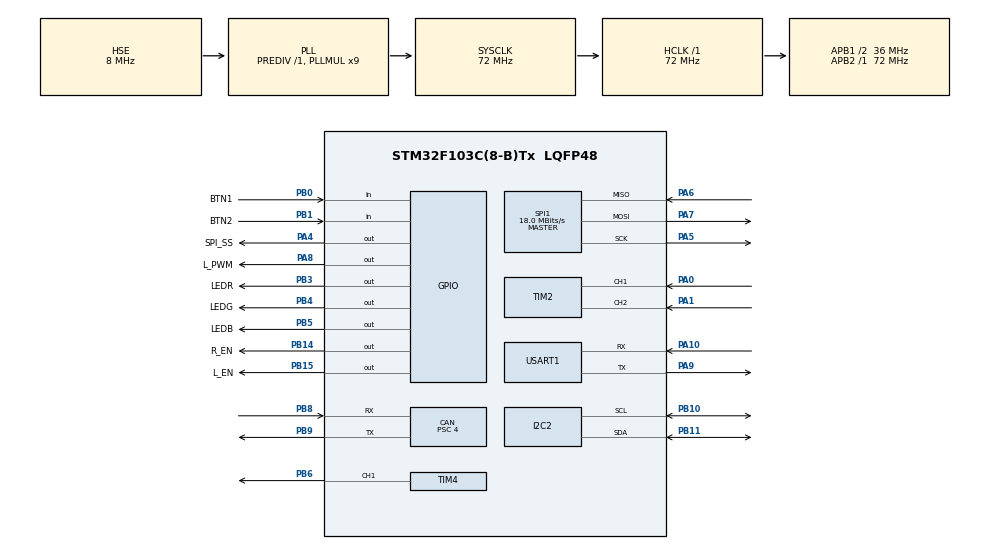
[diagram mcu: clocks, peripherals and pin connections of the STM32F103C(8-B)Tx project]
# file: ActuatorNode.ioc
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CAN.BS1=CAN_BS1_13TQ
CAN.BS2=CAN_BS2_4TQ
CAN.CalculateBaudRate=500000
CAN.CalculateTimeBit=2000
CAN.CalculateTimeQuantum=111.11111111111111
CAN.Prescaler=4
CAN.SJW=CAN_SJW_2TQ
Mcu.Family=STM32F1
Mcu.Name=STM32F103C(8-B)Tx
Mcu.Package=LQFP48
NVIC.CAN1_RX1_IRQn=true\:0\:0\:false\:false\:true\:true\:true\:true
NVIC.PriorityGroup=NVIC_PRIORITYGROUP_4
NVIC.TIM3_IRQn=true\:0\:0\:false\:false\:true\:true\:true\:true
PA0-WKUP.Signal=S_TIM2_CH1_ETR
PA1.Signal=S_TIM2_CH2
PA10.Mode=Asynchronous
PA10.Signal=USART1_RX
PA4.GPIO_Label=SPI_SS
PA4.Signal=GPIO_Output
PA5.Mode=Full_Duplex_Master
PA5.Signal=SPI1_SCK
PA6.Mode=Full_Duplex_Master
PA6.Signal=SPI1_MISO
PA7.Mode=Full_Duplex_Master
PA7.Signal=SPI1_MOSI
PA8.GPIO_Label=L_PWM
PA8.Signal=GPIO_Output
PA9.Mode=Asynchronous
PA9.Signal=USART1_TX
PB0.GPIO_Label=BTN1
PB0.Signal=GPIO_Input
PB1.GPIO_Label=BTN2
PB1.Signal=GPIO_Input
PB10.Mode=I2C
PB10.Signal=I2C2_SCL
PB11.Mode=I2C
PB11.Signal=I2C2_SDA
PB14.GPIO_Label=R_EN
PB14.Signal=GPIO_Output
PB15.GPIO_Label=L_EN
PB15.Signal=GPIO_Output
PB3.GPIO_Label=LEDR
PB3.PinState=GPIO_PIN_SET
PB3.Signal=GPIO_Output
PB4.GPIO_Label=LEDG
PB4.PinState=GPIO_PIN_SET
PB4.Signal=GPIO_Output
PB5.GPIO_Label=LEDB
PB5.PinState=GPIO_PIN_SET
PB5.Signal=GPIO_Output
PB6.Signal=S_TIM4_CH1
PB8.Mode=CAN_Activate
PB8.Signal=CAN_RX
PB9.Mode=CAN_Activate
PB9.Signal=CAN_TX
PD0-OSC_IN.Mode=HSE-External-Oscillator
PD0-OSC_IN.Signal=RCC_OSC_IN
PD1-OSC_OUT.Mode=HSE-External-Oscillator
PD1-OSC_OUT.Signal=RCC_OSC_OUT
ProjectManager.HeapSize=0x200
ProjectManager.StackSize=0x400
ProjectManager.TargetToolchain=STM32CubeIDE
RCC.AHBFreq_Value=72000000
RCC.APB1CLKDivider=RCC_HCLK_DIV2
RCC.APB1Freq_Value=36000000
RCC.APB1TimFreq_Value=72000000
RCC.APB2Freq_Value=72000000
RCC.APB2TimFreq_Value=72000000
RCC.HCLKFreq_Value=72000000
RCC.PLLMUL=RCC_PLL_MUL9
RCC.PLLSourceVirtual=RCC_PLLSOURCE_HSE
RCC.SYSCLKFreq_VALUE=72000000
RCC.SYSCLKSource=RCC_SYSCLKSOURCE_PLLCLK
RCC.USBFreq_Value=72000000
SH.S_TIM2_CH1_ETR.0=TIM2_CH1,Encoder_Interface
SH.S_TIM2_CH2.0=TIM2_CH2,Encoder_Interface
SH.S_TIM4_CH1.0=TIM4_CH1,PWM Generation1 CH1
SPI1.BaudRatePrescaler=SPI_BAUDRATEPRESCALER_4
SPI1.CalculateBaudRate=18.0 MBits/s
SPI1.Direction=SPI_DIRECTION_2LINES
SPI1.Mode=SPI_MODE_MASTER
SPI1.VirtualType=VM_MASTER
TIM3.Period=199
TIM3.Prescaler=35999
TIM4.Channel-PWM\ Generation1\ CH1=TIM_CHANNEL_1
USART1.VirtualMode=VM_ASYNC
VP_TIM3_VS_ClockSourceINT.Mode=Internal
board=custom

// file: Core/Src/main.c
/* USER CODE BEGIN Header */
/**
  ******************************************************************************
  * @file           : main.c
  * @brief          : Main program body
  ******************************************************************************
  * @attention
  *
  * Copyright (c) 2023 STMicroelectronics.
  * All rights reserved.
  *
  * This software is licensed under terms that can be found in the LICENSE file
  * in the root directory of this software component.
  * If no LICENSE file comes with this software, it is provided AS-IS.
  *
  ******************************************************************************
  */
/* USER CODE END Header */

#include "main.h"

/* USER CODE BEGIN Includes */
#include "gpio.h"
#include "timer.h"
#include "uart.h"
#include "can_diagnostic_ecu.h"
/* USER CODE END Includes */

CAN_HandleTypeDef hcan;

I2C_HandleTypeDef hi2c2;

SPI_HandleTypeDef hspi1;

TIM_HandleTypeDef htim2;
TIM_HandleTypeDef htim3;
TIM_HandleTypeDef htim4;

UART_HandleTypeDef huart1;

/* USER CODE BEGIN PV */
/* CAN Tx variables */
CAN_TxHeaderTypeDef CANTxHeader;
uint8_t CANTxBuffer[] = {0x01, 0x02, 0x00, 0x00, 0x00, 0x00, 0x00, 0x00};
uint32_t CANTxMailboxes = CAN_TX_MAILBOX1;
/* CAN Rx variables */
extern uint8_t CANRxBuffer[];
extern uint8_t CANDiagnosticRequestRcvFlag;
extern CAN_RxHeaderTypeDef CANRxHeader;
/* USER CODE END PV */

void SystemClock_Config(void);
static void MX_GPIO_Init(void);
static void MX_I2C2_Init(void);
static void MX_SPI1_Init(void);
static void MX_TIM2_Init(void);
static void MX_TIM3_Init(void);
static void MX_TIM4_Init(void);
static void MX_USART1_UART_Init(void);
static void MX_CAN_Init(void);

/* USER CODE BEGIN 0 */
//void CANResponse()
//{
//	for (int _byte = 0; _byte < 8; ++ _byte)
//	{
//		CANTxBuffer[_byte] = CANRxBuffer[_byte];
//	}
//
//	CANTxBuffer[2] = CANTxBuffer[0] + CANTxBuffer[1];
//
////	CANTxBuffer[7] = SAE_J1850_Calc(CANTxBuffer, 7);
//
//	CANTxHeader.StdId 	= CAN_TX_STD_ID;
//	CANTxHeader.IDE 	= CAN_ID_STD;
//	CANTxHeader.RTR 	= CAN_RTR_DATA;
//	CANTxHeader.DLC 	= CAN_DATA_LENGTH;
//
//	if (HAL_CAN_AddTxMessage(&hcan, &CANTxHeader, CANTxBuffer, &CANTxMailboxes) == HAL_OK)
//	{
//
//	}
//}
/* USER CODE END 0 */

int main(void)
{

  /* MCU Configuration--------------------------------------------------------*/

  /* Reset of all peripherals, Initializes the Flash interface and the Systick. */
  HAL_Init();

  /* Configure the system clock */
  SystemClock_Config();

  /* Initialize all configured peripherals */
  MX_GPIO_Init();
  MX_I2C2_Init();
  MX_SPI1_Init();
  MX_TIM2_Init();
  MX_TIM3_Init();
  MX_TIM4_Init();
  MX_USART1_UART_Init();
  MX_CAN_Init();
  /* USER CODE BEGIN 2 */
  HAL_TIM_Base_Start_IT(&htim3);
  if (HAL_CAN_Start(&hcan) != HAL_OK)
  {
	  Error_Handler();
  }
  HAL_CAN_ActivateNotification(&hcan, CAN_IT_RX_FIFO1_MSG_PENDING);
  printf("Actuator\n");
  //  Monitor_Show();
  /* USER CODE END 2 */

  /* Infinite loop */
  /* USER CODE BEGIN WHILE */
    while (1)
    {
    	while (CANDiagnosticRequestRcvFlag != 1);
    	{
    		CANDiagnosticRequestRcvFlag = 0;
//    		readDataByIdentifierResponse(&hcan, &CANRxHeader, CANRxBuffer);
//    		writeDataByIdentifierResponse(&hcan, &CANRxHeader, CANRxBuffer);
    		if (securityAccessSeedGenerate(&hcan, &CANRxHeader, CANRxBuffer))
    		{
    			while (CANDiagnosticRequestRcvFlag != 1);
    			{
    	    		CANDiagnosticRequestRcvFlag = 0;
    				flowControlResponse(&hcan, &CANRxHeader, CANRxBuffer);
        			while (CANDiagnosticRequestRcvFlag != 1);
					{
        				CANDiagnosticRequestRcvFlag = 0;
    					securityAccessKeyResponse(&hcan);
					}
    			}
    		}
    	}
//    	CANTransmit();
//    	HAL_Delay(50);
    /* USER CODE END WHILE */

    }
}

void SystemClock_Config(void)
{
  RCC_OscInitTypeDef RCC_OscInitStruct = {0};
  RCC_ClkInitTypeDef RCC_ClkInitStruct = {0};

  /** Initializes the RCC Oscillators according to the specified parameters
  * in the RCC_OscInitTypeDef structure.
  */
  RCC_OscInitStruct.OscillatorType = RCC_OSCILLATORTYPE_HSE;
  RCC_OscInitStruct.HSEState = RCC_HSE_ON;
  RCC_OscInitStruct.HSEPredivValue = RCC_HSE_PREDIV_DIV1;
  RCC_OscInitStruct.HSIState = RCC_HSI_ON;
  RCC_OscInitStruct.PLL.PLLState = RCC_PLL_ON;
  RCC_OscInitStruct.PLL.PLLSource = RCC_PLLSOURCE_HSE;
  RCC_OscInitStruct.PLL.PLLMUL = RCC_PLL_MUL9;
  if (HAL_RCC_OscConfig(&RCC_OscInitStruct) != HAL_OK)
  {
    Error_Handler();
  }

  /** Initializes the CPU, AHB and APB buses clocks
  */
  RCC_ClkInitStruct.ClockType = RCC_CLOCKTYPE_HCLK|RCC_CLOCKTYPE_SYSCLK
                              |RCC_CLOCKTYPE_PCLK1|RCC_CLOCKTYPE_PCLK2;
  RCC_ClkInitStruct.SYSCLKSource = RCC_SYSCLKSOURCE_PLLCLK;
  RCC_ClkInitStruct.AHBCLKDivider = RCC_SYSCLK_DIV1;
  RCC_ClkInitStruct.APB1CLKDivider = RCC_HCLK_DIV2;
  RCC_ClkInitStruct.APB2CLKDivider = RCC_HCLK_DIV1;

  if (HAL_RCC_ClockConfig(&RCC_ClkInitStruct, FLASH_LATENCY_2) != HAL_OK)
  {
    Error_Handler();
  }
}

static void MX_CAN_Init(void)
{

  hcan.Instance = CAN1;
  hcan.Init.Prescaler = 4;
  hcan.Init.Mode = CAN_MODE_NORMAL;
  hcan.Init.SyncJumpWidth = CAN_SJW_2TQ;
  hcan.Init.TimeSeg1 = CAN_BS1_13TQ;
  hcan.Init.TimeSeg2 = CAN_BS2_4TQ;
  hcan.Init.TimeTriggeredMode = DISABLE;
  hcan.Init.AutoBusOff = DISABLE;
  hcan.Init.AutoWakeUp = DISABLE;
  hcan.Init.AutoRetransmission = DISABLE;
  hcan.Init.ReceiveFifoLocked = DISABLE;
  hcan.Init.TransmitFifoPriority = DISABLE;
  if (HAL_CAN_Init(&hcan) != HAL_OK)
  {
    Error_Handler();
  }
  /* USER CODE BEGIN CAN_Init 2 */
  CAN_FilterTypeDef canfilterconfig;

  canfilterconfig.FilterActivation = CAN_FILTER_ENABLE;
  canfilterconfig.FilterBank = 12;  // which filter bank to use from the assigned ones
  canfilterconfig.FilterFIFOAssignment = CAN_FILTER_FIFO1;
  canfilterconfig.FilterIdHigh = CAN_DIAGNOSTIC_REQUEST_ID<<5;
  canfilterconfig.FilterIdLow = 0;
  canfilterconfig.FilterMaskIdHigh = CAN_DIAGNOSTIC_REQUEST_ID<<5;
  canfilterconfig.FilterMaskIdLow = 0x0000;
  canfilterconfig.FilterMode = CAN_FILTERMODE_IDMASK;
  canfilterconfig.FilterScale = CAN_FILTERSCALE_32BIT;
  canfilterconfig.SlaveStartFilterBank = 13;  // how many filters to assign to the CAN1 (master can)

  HAL_CAN_ConfigFilter(&hcan, &canfilterconfig);
  /* USER CODE END CAN_Init 2 */

}

static void MX_I2C2_Init(void)
{

  hi2c2.Instance = I2C2;
  hi2c2.Init.ClockSpeed = 100000;
  hi2c2.Init.DutyCycle = I2C_DUTYCYCLE_2;
  hi2c2.Init.OwnAddress1 = 0;
  hi2c2.Init.AddressingMode = I2C_ADDRESSINGMODE_7BIT;
  hi2c2.Init.DualAddressMode = I2C_DUALADDRESS_DISABLE;
  hi2c2.Init.OwnAddress2 = 0;
  hi2c2.Init.GeneralCallMode = I2C_GENERALCALL_DISABLE;
  hi2c2.Init.NoStretchMode = I2C_NOSTRETCH_DISABLE;
  if (HAL_I2C_Init(&hi2c2) != HAL_OK)
  {
    Error_Handler();
  }

}

static void MX_SPI1_Init(void)
{

  /* SPI1 parameter configuration*/
  hspi1.Instance = SPI1;
  hspi1.Init.Mode = SPI_MODE_MASTER;
  hspi1.Init.Direction = SPI_DIRECTION_2LINES;
  hspi1.Init.DataSize = SPI_DATASIZE_8BIT;
  hspi1.Init.CLKPolarity = SPI_POLARITY_LOW;
  hspi1.Init.CLKPhase = SPI_PHASE_1EDGE;
  hspi1.Init.NSS = SPI_NSS_SOFT;
  hspi1.Init.BaudRatePrescaler = SPI_BAUDRATEPRESCALER_4;
  hspi1.Init.FirstBit = SPI_FIRSTBIT_MSB;
  hspi1.Init.TIMode = SPI_TIMODE_DISABLE;
  hspi1.Init.CRCCalculation = SPI_CRCCALCULATION_DISABLE;
  hspi1.Init.CRCPolynomial = 10;
  if (HAL_SPI_Init(&hspi1) != HAL_OK)
  {
    Error_Handler();
  }

}

static void MX_TIM2_Init(void)
{

  TIM_Encoder_InitTypeDef sConfig = {0};
  TIM_MasterConfigTypeDef sMasterConfig = {0};

  htim2.Instance = TIM2;
  htim2.Init.Prescaler = 0;
  htim2.Init.CounterMode = TIM_COUNTERMODE_UP;
  htim2.Init.Period = 65535;
  htim2.Init.ClockDivision = TIM_CLOCKDIVISION_DIV1;
  htim2.Init.AutoReloadPreload = TIM_AUTORELOAD_PRELOAD_DISABLE;
  sConfig.EncoderMode = TIM_ENCODERMODE_TI1;
  sConfig.IC1Polarity = TIM_ICPOLARITY_RISING;
  sConfig.IC1Selection = TIM_ICSELECTION_DIRECTTI;
  sConfig.IC1Prescaler = TIM_ICPSC_DIV1;
  sConfig.IC1Filter = 0;
  sConfig.IC2Polarity = TIM_ICPOLARITY_RISING;
  sConfig.IC2Selection = TIM_ICSELECTION_DIRECTTI;
  sConfig.IC2Prescaler = TIM_ICPSC_DIV1;
  sConfig.IC2Filter = 0;
  if (HAL_TIM_Encoder_Init(&htim2, &sConfig) != HAL_OK)
  {
    Error_Handler();
  }
  sMasterConfig.MasterOutputTrigger = TIM_TRGO_RESET;
  sMasterConfig.MasterSlaveMode = TIM_MASTERSLAVEMODE_DISABLE;
  if (HAL_TIMEx_MasterConfigSynchronization(&htim2, &sMasterConfig) != HAL_OK)
  {
    Error_Handler();
  }

}

static void MX_TIM3_Init(void)
{

  TIM_ClockConfigTypeDef sClockSourceConfig = {0};
  TIM_MasterConfigTypeDef sMasterConfig = {0};

  htim3.Instance = TIM3;
  htim3.Init.Prescaler = 35999;
  htim3.Init.CounterMode = TIM_COUNTERMODE_UP;
  htim3.Init.Period = 199;
  htim3.Init.ClockDivision = TIM_CLOCKDIVISION_DIV1;
  htim3.Init.AutoReloadPreload = TIM_AUTORELOAD_PRELOAD_DISABLE;
  if (HAL_TIM_Base_Init(&htim3) != HAL_OK)
  {
    Error_Handler();
  }
  sClockSourceConfig.ClockSource = TIM_CLOCKSOURCE_INTERNAL;
  if (HAL_TIM_ConfigClockSource(&htim3, &sClockSourceConfig) != HAL_OK)
  {
    Error_Handler();
  }
  sMasterConfig.MasterOutputTrigger = TIM_TRGO_RESET;
  sMasterConfig.MasterSlaveMode = TIM_MASTERSLAVEMODE_DISABLE;
  if (HAL_TIMEx_MasterConfigSynchronization(&htim3, &sMasterConfig) != HAL_OK)
  {
    Error_Handler();
  }

}

static void MX_TIM4_Init(void)
{

  TIM_MasterConfigTypeDef sMasterConfig = {0};
  TIM_OC_InitTypeDef sConfigOC = {0};

  htim4.Instance = TIM4;
  htim4.Init.Prescaler = 0;
  htim4.Init.CounterMode = TIM_COUNTERMODE_UP;
  htim4.Init.Period = 65535;
  htim4.Init.ClockDivision = TIM_CLOCKDIVISION_DIV1;
  htim4.Init.AutoReloadPreload = TIM_AUTORELOAD_PRELOAD_DISABLE;
  if (HAL_TIM_PWM_Init(&htim4) != HAL_OK)
  {
    Error_Handler();
  }
  sMasterConfig.MasterOutputTrigger = TIM_TRGO_RESET;
  sMasterConfig.MasterSlaveMode = TIM_MASTERSLAVEMODE_DISABLE;
  if (HAL_TIMEx_MasterConfigSynchronization(&htim4, &sMasterConfig) != HAL_OK)
  {
    Error_Handler();
  }
  sConfigOC.OCMode = TIM_OCMODE_PWM1;
  sConfigOC.Pulse = 0;
  sConfigOC.OCPolarity = TIM_OCPOLARITY_HIGH;
  sConfigOC.OCFastMode = TIM_OCFAST_DISABLE;
  if (HAL_TIM_PWM_ConfigChannel(&htim4, &sConfigOC, TIM_CHANNEL_1) != HAL_OK)
  {
    Error_Handler();
  }
  HAL_TIM_MspPostInit(&htim4);

}

static void MX_USART1_UART_Init(void)
{

  huart1.Instance = USART1;
  huart1.Init.BaudRate = 115200;
  huart1.Init.WordLength = UART_WORDLENGTH_8B;
  huart1.Init.StopBits = UART_STOPBITS_1;
  huart1.Init.Parity = UART_PARITY_NONE;
  huart1.Init.Mode = UART_MODE_TX_RX;
  huart1.Init.HwFlowCtl = UART_HWCONTROL_NONE;
  huart1.Init.OverSampling = UART_OVERSAMPLING_16;
  if (HAL_UART_Init(&huart1) != HAL_OK)
  {
    Error_Handler();
  }

}

static void MX_GPIO_Init(void)
{
  GPIO_InitTypeDef GPIO_InitStruct = {0};

  /* GPIO Ports Clock Enable */
  __HAL_RCC_GPIOD_CLK_ENABLE();
  __HAL_RCC_GPIOA_CLK_ENABLE();
  __HAL_RCC_GPIOB_CLK_ENABLE();

  /*Configure GPIO pin Output Level */
  HAL_GPIO_WritePin(GPIOA, SPI_SS_Pin|L_PWM_Pin, GPIO_PIN_RESET);

  /*Configure GPIO pin Output Level */
  HAL_GPIO_WritePin(GPIOB, R_EN_Pin|L_EN_Pin, GPIO_PIN_RESET);

  /*Configure GPIO pin Output Level */
  HAL_GPIO_WritePin(GPIOB, LEDR_Pin|LEDG_Pin|LEDB_Pin, GPIO_PIN_SET);

  /*Configure GPIO pins : SPI_SS_Pin L_PWM_Pin */
  GPIO_InitStruct.Pin = SPI_SS_Pin|L_PWM_Pin;
  GPIO_InitStruct.Mode = GPIO_MODE_OUTPUT_PP;
  GPIO_InitStruct.Pull = GPIO_NOPULL;
  GPIO_InitStruct.Speed = GPIO_SPEED_FREQ_LOW;
  HAL_GPIO_Init(GPIOA, &GPIO_InitStruct);

  /*Configure GPIO pins : BTN1_Pin BTN2_Pin */
  GPIO_InitStruct.Pin = BTN1_Pin|BTN2_Pin;
  GPIO_InitStruct.Mode = GPIO_MODE_INPUT;
  GPIO_InitStruct.Pull = GPIO_NOPULL;
  HAL_GPIO_Init(GPIOB, &GPIO_InitStruct);

  /*Configure GPIO pins : R_EN_Pin L_EN_Pin LEDR_Pin LEDG_Pin
                           LEDB_Pin */
  GPIO_InitStruct.Pin = R_EN_Pin|L_EN_Pin|LEDR_Pin|LEDG_Pin
                          |LEDB_Pin;
  GPIO_InitStruct.Mode = GPIO_MODE_OUTPUT_PP;
  GPIO_InitStruct.Pull = GPIO_NOPULL;
  GPIO_InitStruct.Speed = GPIO_SPEED_FREQ_LOW;
  HAL_GPIO_Init(GPIOB, &GPIO_InitStruct);

}

void Error_Handler(void)
{
  __disable_irq();
  while (1)
  {
  }
}
